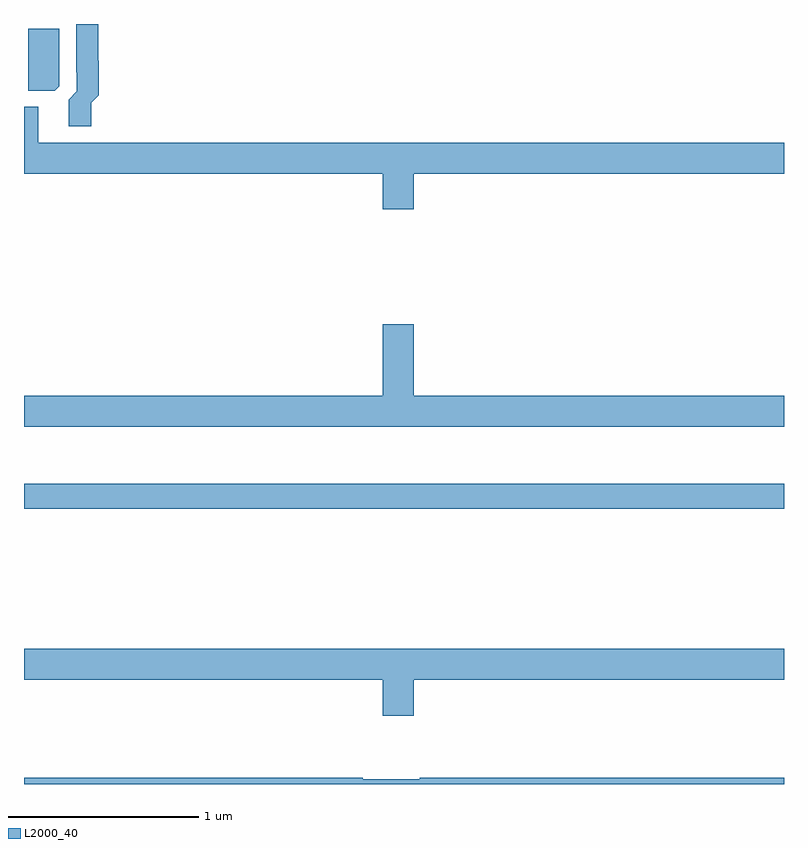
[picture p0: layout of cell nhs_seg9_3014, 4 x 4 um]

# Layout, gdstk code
import gdstk
lib = gdstk.Library(unit=1e-6, precision=1e-09)
def R(c, l, rs):  # rectangles x0, y0, x1, y1
    for r in rs: c.add(gdstk.rectangle(r[:2], r[2:], *l))
def P(c, l, *ps):  # polygons
    for p in ps: c.add(gdstk.Polygon(p, *l))
L2000_40 = (2000, 40)

nhs_seg9_3014 = lib.new_cell('nhs_seg9_3014')
R(nhs_seg9_3014, L2000_40, [(283,1235.95,287,1236.079)])
P(nhs_seg9_3014, L2000_40, [(283.355,1238.085),(283.394,1238.124),(283.394,1238.306),(283.391,1238.306),(283.391,1238.5),(283.275,1238.5),(283.275,1238.245),(283.278,1238.245),(283.278,1238.145),(283.235,1238.102),(283.235,1237.962),(283.355,1237.962)],
  [(283.185,1238.172),(283.185,1238.474),(283.023,1238.474),(283.023,1238.363),(283.022,1238.363),(283.022,1238.149),(283.161,1238.149)],
  [(285.052,1237.712),(287,1237.712),(287,1237.876),(283.075,1237.876),(283.075,1238.064),(283,1238.064),(283,1237.712),(284.888,1237.712),(284.888,1237.524),(285.052,1237.524)],
  [(287,1236.544),(285.052,1236.544),(285.052,1236.919),(284.888,1236.919),(284.888,1236.544),(283,1236.544),(283,1236.38),(287,1236.38)],
  [(285.052,1235.048),(287,1235.048),(287,1235.212),(283,1235.212),(283,1235.048),(284.888,1235.048),(284.888,1234.86),(285.052,1234.86)],
  [(287,1234.532),(285.083,1234.532),(285.083,1234.525),(284.783,1234.525),(284.783,1234.532),(283,1234.532),(283,1234.5),(287,1234.5)])

lib.write_gds('nhs_seg9_3014.gds')
